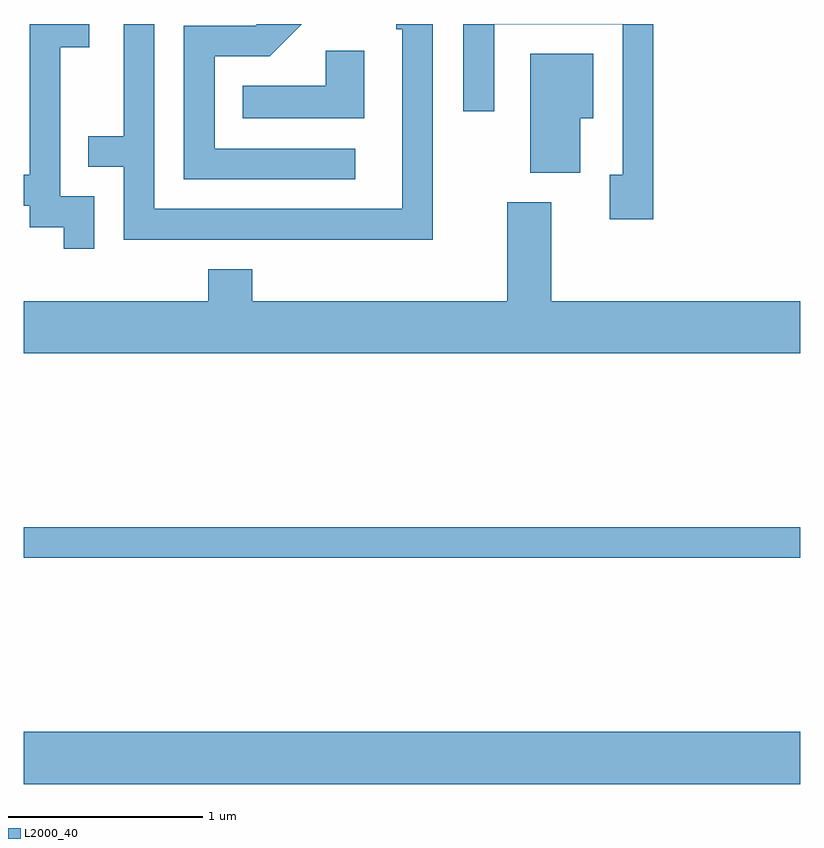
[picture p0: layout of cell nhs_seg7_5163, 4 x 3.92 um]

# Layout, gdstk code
import gdstk
lib = gdstk.Library(unit=1e-6, precision=1e-09)
def R(c, l, rs):  # rectangles x0, y0, x1, y1
    for r in rs: c.add(gdstk.rectangle(r[:2], r[2:], *l))
def P(c, l, *ps):  # polygons
    for p in ps: c.add(gdstk.Polygon(p, *l))
L2000_40 = (2000, 40)

nhs_seg7_5163 = lib.new_cell('nhs_seg7_5163')
R(nhs_seg7_5163, L2000_40, [(343.611,1694.336,347.611,1694.604), (343.611,1695.501,347.611,1695.659)])
P(nhs_seg7_5163, L2000_40, [(345.318,1697.609),(344.594,1697.609),(344.594,1698.086),(344.877,1698.086),(345.043,1698.252),(344.812,1698.252),(344.804,1698.244),(344.436,1698.244),(344.436,1697.451),(345.318,1697.451)],
  [(343.974,1697.364),(343.799,1697.364),(343.799,1698.131),(343.949,1698.131),(343.949,1698.252),(343.641,1698.252),(343.641,1697.474),(343.611,1697.474),(343.611,1697.316),(343.641,1697.316),(343.641,1697.206),(343.816,1697.206),(343.816,1697.093),(343.974,1697.093)],
  [(346.854,1698.252),(345.876,1698.252),(345.876,1697.803),(346.034,1697.803),(346.034,1698.251),(346.696,1698.251),(346.696,1697.474),(346.631,1697.474),(346.631,1697.246),(346.854,1697.246)],
  [(345.719,1698.252),(345.531,1698.252),(345.531,1698.226),(345.561,1698.226),(345.561,1697.299),(344.284,1697.299),(344.284,1698.252),(344.126,1698.252),(344.126,1697.674),(343.943,1697.674),(343.943,1697.516),(344.126,1697.516),(344.126,1697.141),(345.719,1697.141)],
  [(345.364,1698.114),(345.166,1698.114),(345.166,1697.934),(344.738,1697.934),(344.738,1697.766),(345.364,1697.766)],
  [(346.479,1697.766),(346.544,1697.766),(346.544,1698.099),(346.221,1698.099),(346.221,1697.486),(346.479,1697.486)],
  [(347.611,1696.824),(346.329,1696.824),(346.329,1697.334),(346.101,1697.334),(346.101,1696.824),(344.789,1696.824),(344.789,1696.989),(344.561,1696.989),(344.561,1696.824),(343.611,1696.824),(343.611,1696.556),(347.611,1696.556)])

lib.write_gds('nhs_seg7_5163.gds')
